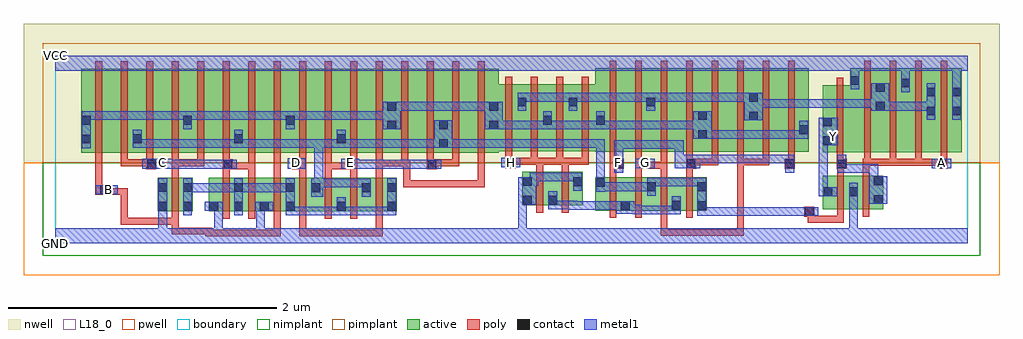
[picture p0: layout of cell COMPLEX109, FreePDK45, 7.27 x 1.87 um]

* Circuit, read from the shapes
.subckt COMPLEX109 A B C D E F G GND H VCC Y
M1 n1 B GND VSUBS nfet w=0.25u l=0.05u m=2
M2 n1 C GND VSUBS nfet w=0.25u l=0.05u m=2
M3 n2 D n1 VSUBS nfet w=0.25u l=0.05u m=2
M4 n1 E n2 VSUBS nfet w=0.25u l=0.05u m=2
M5 n3 H GND VSUBS nfet w=0.25u l=0.05u m=2
M6 n3 F n2 VSUBS nfet w=0.25u l=0.05u m=2
M7 n2 G n3 VSUBS nfet w=0.25u l=0.05u m=2
M8 GND n2 Y VSUBS nfet w=0.25u l=0.05u
M9 n2 A GND VSUBS nfet w=0.25u l=0.05u
M10 n4 B n5 n6 pfet w=0.625u l=0.05u
M11 n2 C n4 n6 pfet w=0.625u l=0.05u
M12 n7 C n2 n6 pfet w=0.625u l=0.05u
M13 n5 B n7 n6 pfet w=0.625u l=0.05u
M14 n8 B n5 n6 pfet w=0.625u l=0.05u
M15 n2 C n8 n6 pfet w=0.625u l=0.05u
M16 n9 C n2 n6 pfet w=0.625u l=0.05u
M17 n5 B n9 n6 pfet w=0.625u l=0.05u
M18 n10 D n5 n6 pfet w=0.625u l=0.05u
M19 n2 E n10 n6 pfet w=0.625u l=0.05u
M20 n11 E n2 n6 pfet w=0.625u l=0.05u
M21 n5 D n11 n6 pfet w=0.625u l=0.05u
M22 n12 D n5 n6 pfet w=0.625u l=0.05u
M23 n2 E n12 n6 pfet w=0.625u l=0.05u
M24 n13 E n2 n6 pfet w=0.625u l=0.05u
M25 n5 D n13 n6 pfet w=0.625u l=0.05u
M26 n14 H n5 n6 pfet w=0.5u l=0.05u m=4
M27 n15 F n5 n6 pfet w=0.625u l=0.05u
M28 n14 G n15 n6 pfet w=0.625u l=0.05u
M29 n16 G n14 n6 pfet w=0.625u l=0.05u
M30 n5 F n16 n6 pfet w=0.625u l=0.05u
M31 n17 F n5 n6 pfet w=0.625u l=0.05u
M32 n14 G n17 n6 pfet w=0.625u l=0.05u
M33 n18 G n14 n6 pfet w=0.625u l=0.05u
M34 n5 F n18 n6 pfet w=0.625u l=0.05u
M35 VCC n2 Y n6 pfet w=0.5u l=0.05u
M36 n14 A VCC n6 pfet w=0.625u l=0.05u m=4
.ends

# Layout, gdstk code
import gdstk
lib = gdstk.Library(unit=1e-6, precision=1e-09)
def R(c, l, rs):  # rectangles x0, y0, x1, y1
    for r in rs: c.add(gdstk.rectangle(r[:2], r[2:], *l))
def A(c, l, x, y, w, h, nx, ny, dx, dy):  # array of equal rectangles
    R(c, l, [(x+i*dx, y+j*dy, x+i*dx+w, y+j*dy+h) for i in range(nx) for j in range(ny)])
active = (1, 0)
pwell = (2, 0)
nwell = (3, 0)
nimplant = (4, 0)
pimplant = (5, 0)
poly = (9, 0)
contact = (10, 0)
metal1 = (11, 0)
L18_0 = (18, 0)
boundary = (235, 0)

complex109 = lib.new_cell('COMPLEX109')
R(complex109, active, [(0.765,0.24,1.025,0.49), (0.765,0.24,0.84,0.49), (0.95,0.24,1.025,0.49), (1.145,0.24,1.405,0.49), (1.145,0.24,1.22,0.49), (1.33,0.24,1.595,0.49), (1.33,0.24,1.405,0.467), (1.52,0.24,1.79,0.49), (1.52,0.24,1.595,0.387), (1.715,0.24,1.98,0.49), (1.715,0.24,1.79,0.477), (1.905,0.24,2.17,0.49), (2.095,0.24,2.355,0.49), (2.095,0.24,2.17,0.467), (2.28,0.24,2.545,0.49), (2.47,0.24,2.545,0.49), (4.025,0.245,4.285,0.495), (4.21,0.245,4.48,0.495), (4.21,0.245,4.285,0.377), (4.405,0.245,4.665,0.495), (4.59,0.245,4.855,0.495), (4.78,0.245,4.855,0.495), (4.59,0.247,4.665,0.405), (5.72,0.255,5.985,0.505), (5.91,0.255,6.17,0.505), (5.91,0.255,5.985,0.422), (5.72,0.275,5.795,0.505), (6.095,0.282,6.17,0.505), (3.48,0.285,3.745,0.535), (3.48,0.285,3.555,0.535), (3.67,0.285,3.93,0.535), (3.67,0.285,3.745,0.36), (1.905,0.297,1.98,0.452), (2.28,0.297,2.355,0.452), (3.855,0.297,3.93,0.535), (4.025,0.297,4.1,0.495), (4.405,0.297,4.48,0.46), (0.195,0.677,0.42,1.302), (0.195,0.677,0.3,1.2), (0.42,0.677,0.65,1.302), (0.575,0.677,0.8,1.302), (0.8,0.677,1.025,1.302), (0.95,0.677,1.18,1.302), (1.18,0.677,1.405,1.302), (1.33,0.677,1.56,1.302), (1.56,0.677,1.79,1.302), (1.715,0.677,1.94,1.302), (1.94,0.677,2.17,1.302), (2.095,0.677,2.32,1.302), (2.32,0.677,2.545,1.302), (2.47,0.677,2.7,1.302), (2.7,0.677,2.93,1.302), (2.855,0.677,3.08,1.302), (3.08,0.677,3.305,1.302), (5.717,0.68,5.997,1.18), (5.717,0.68,5.792,1.07), (5.922,0.68,6.185,1.305), (6.11,0.68,6.372,1.305), (6.297,0.68,6.562,1.305), (6.487,0.68,6.752,1.305), (6.677,0.68,6.752,1.282), (0.575,0.682,0.65,1.07), (0.95,0.682,1.025,1.2), (1.33,0.682,1.405,1.07), (1.715,0.682,1.79,1.2), (2.095,0.682,2.17,1.07), (2.47,0.682,2.545,1.2), (2.855,0.682,2.93,1.07), (4.025,0.682,4.25,1.307), (4.25,0.682,4.475,1.307), (4.4,0.682,4.475,1.2), (4.4,0.682,4.63,1.307), (4.63,0.682,4.86,1.307), (4.785,0.682,4.86,1.07), (4.785,0.682,5.01,1.307), (5.01,0.682,5.24,1.307), (5.165,0.682,5.24,1.2), (5.165,0.682,5.39,1.307), (5.39,0.682,5.615,1.307), (5.54,0.682,5.615,1.07), (6.11,0.682,6.185,1.2), (6.297,0.682,6.372,1.282), (6.487,0.682,6.562,1.2), (3.23,0.687,3.515,1.187), (3.23,0.687,3.305,1.2), (3.44,0.687,3.705,1.187), (3.63,0.687,3.705,1.07), (3.63,0.687,3.895,1.187), (3.82,0.687,4.1,1.187), (4.025,0.687,4.1,1.07), (3.82,0.72,3.895,1.157), (3.44,0.752,3.515,1.157), (5.922,0.807,5.997,1.252)])
R(complex109, pwell, [(-0.235,-0.235,7.035,0.602)])
R(complex109, nwell, [(-0.235,0.602,7.035,1.635)])
R(complex109, nimplant, [(-0.09,-0.09,6.89,0.602)])
R(complex109, pimplant, [(-0.09,0.602,6.89,1.49)])
A(complex109, poly, 1.25, 0.185, 0.05, 0.36, 7, 1, 0.19, 0)
A(complex109, poly, 4.13, 0.19, 0.05, 0.36, 4, 1, 0.19, 0)
A(complex109, poly, 1.82, 0.495, 0.05, 0.107, 3, 1, 0.19, 0)
A(complex109, poly, 4.13, 0.5, 0.05, 0.107, 4, 1, 0.19, 0)
A(complex109, poly, 0.49, 0.577, 0.05, 0.095, 5, 1, 0.19, 0)
A(complex109, poly, 6.027, 0.58, 0.05, 0.095, 4, 1, 0.19, 0)
A(complex109, poly, 4.7, 0.582, 0.05, 0.095, 5, 1, 0.19, 0)
A(complex109, poly, 3.355, 0.587, 0.05, 0.095, 4, 1, 0.19, 0)
A(complex109, poly, 0.3, 0.622, 0.05, 0.735, 16, 1, 0.19, 0)
A(complex109, poly, 6.027, 0.625, 0.05, 0.735, 4, 1, 0.19, 0)
A(complex109, poly, 4.13, 0.627, 0.05, 0.735, 8, 1, 0.19, 0)
A(complex109, poly, 3.355, 0.632, 0.05, 0.61, 4, 1, 0.19, 0)
R(complex109, poly, [(1.117,0.052,1.167,0.102), (1.117,0.052,1.167,0.102), (1.117,0.052,1.3,0.102), (1.117,0.052,1.167,0.117), (1.25,0.052,1.3,0.102), (1.25,0.052,1.3,0.102), (1.25,0.052,1.3,0.102), (1.25,0.052,1.457,0.102), (1.407,0.052,1.457,0.102), (1.407,0.052,1.68,0.102), (1.63,0.052,1.68,0.102), (1.63,0.052,1.68,0.102), (1.63,0.052,1.68,0.102), (1.63,0.052,1.68,0.235), (1.82,0.052,1.87,0.102), (1.82,0.052,1.87,0.102), (1.82,0.052,1.87,0.102), (1.82,0.052,2.002,0.102), (1.82,0.052,1.87,0.235), (1.952,0.052,2.002,0.102), (1.952,0.052,2.247,0.102), (2.197,0.052,2.247,0.102), (2.197,0.052,2.247,0.102), (2.197,0.052,2.247,0.102), (2.197,0.052,2.38,0.102), (2.33,0.052,2.38,0.102), (2.33,0.052,2.44,0.102), (2.39,0.052,2.44,0.102), (2.39,0.052,2.44,0.235), (4.51,0.057,4.56,0.107), (4.51,0.057,4.56,0.107), (4.51,0.057,4.56,0.107), (4.51,0.057,4.692,0.107), (4.51,0.057,4.56,0.24), (4.642,0.057,4.692,0.107), (4.642,0.057,4.997,0.107), (4.947,0.057,4.997,0.107), (4.947,0.057,4.997,0.107), (4.947,0.057,4.997,0.107), (4.947,0.057,5.13,0.107), (5.08,0.057,5.13,0.107), (5.08,0.057,5.13,0.107), (5.08,0.057,5.13,0.107), (5.08,0.057,5.13,0.107), (5.08,0.057,5.13,0.107), (5.08,0.057,5.13,0.632), (0.87,0.067,1.167,0.117), (0.87,0.067,0.92,0.19), (0.49,0.14,0.54,0.19), (0.49,0.14,0.672,0.19), (0.49,0.14,0.54,0.412), (0.622,0.14,0.672,0.19), (0.622,0.14,0.672,0.19), (0.622,0.14,0.672,0.19), (0.622,0.14,0.92,0.19), (0.87,0.14,0.92,0.235), (0.87,0.14,0.92,0.19), (0.87,0.14,0.92,0.19), (5.605,0.155,5.655,0.25), (5.605,0.155,5.655,0.205), (5.605,0.155,5.655,0.205), (5.605,0.155,5.655,0.205), (5.605,0.155,5.875,0.205), (5.825,0.155,5.875,0.25), (5.825,0.155,5.875,0.205), (5.825,0.155,5.875,0.205), (5.825,0.155,5.875,0.205), (0.87,0.185,0.92,0.545), (5.58,0.2,5.655,0.275), (5.825,0.2,5.875,0.56), (6.015,0.2,6.065,0.56), (3.585,0.23,3.635,0.59), (3.775,0.23,3.825,0.59), (0.3,0.362,0.407,0.437), (0.357,0.362,0.407,0.412), (0.357,0.362,0.407,0.412), (0.357,0.362,0.407,0.412), (0.357,0.362,0.407,0.412), (0.357,0.362,0.407,0.412), (0.357,0.362,0.407,0.412), (0.357,0.362,0.54,0.412), (0.49,0.362,0.54,0.412), (0.49,0.362,0.54,0.412), (0.49,0.362,0.54,0.412), (0.3,0.387,0.35,0.672), (2.595,0.42,2.645,0.47), (2.595,0.42,2.645,0.47), (2.595,0.42,2.645,0.47), (2.595,0.42,2.877,0.47), (2.595,0.42,2.645,0.625), (2.827,0.42,2.877,0.47), (2.827,0.42,2.877,0.47), (2.827,0.42,2.877,0.47), (2.827,0.42,3.01,0.47), (2.96,0.42,3.01,0.47), (2.96,0.42,3.2,0.47), (3.15,0.42,3.2,0.47), (3.15,0.42,3.2,0.47), (3.15,0.42,3.2,0.47), (3.15,0.42,3.2,0.47), (3.15,0.42,3.2,0.47), (3.15,0.42,3.2,0.47), (3.15,0.42,3.2,0.47), (3.15,0.42,3.2,0.672), (0.87,0.495,0.92,0.627), (1.25,0.495,1.3,0.602), (1.44,0.495,1.49,0.602), (1.63,0.495,1.68,0.59), (2.39,0.495,2.44,0.625), (5.825,0.51,5.875,0.605), (6.015,0.51,6.065,0.63), (1.63,0.54,1.68,0.59), (1.63,0.54,1.68,0.672), (3.585,0.54,3.635,0.637), (3.775,0.54,3.825,0.637), (0.68,0.552,0.755,0.627), (1.25,0.552,1.325,0.627), (1.275,0.552,1.325,0.602), (1.275,0.552,1.325,0.602), (1.275,0.552,1.49,0.602), (1.44,0.552,1.49,0.602), (1.44,0.552,1.49,0.672), (1.762,0.552,1.87,0.627), (2.01,0.552,2.06,0.602), (2.01,0.552,2.06,0.672), (2.01,0.552,2.212,0.602), (2.162,0.552,2.212,0.602), (2.162,0.552,2.212,0.602), (2.162,0.552,2.25,0.627), (2.77,0.552,2.845,0.627), (5.822,0.555,5.897,0.63), (6.57,0.555,6.647,0.63), (4.13,0.557,4.237,0.632), (4.32,0.557,4.425,0.632), (4.375,0.557,4.425,0.607), (4.375,0.557,4.425,0.607), (4.375,0.557,4.56,0.607), (4.51,0.557,4.56,0.607), (4.51,0.557,4.56,0.677), (4.7,0.557,4.775,0.632), (5.435,0.557,5.51,0.632), (3.355,0.562,3.43,0.637), (2.39,0.575,2.44,0.625), (2.39,0.575,2.44,0.672), (2.39,0.575,2.512,0.625), (2.462,0.575,2.512,0.625), (2.462,0.575,2.63,0.625), (2.58,0.575,2.63,0.625), (2.58,0.575,2.63,0.625), (2.58,0.575,2.63,0.672), (2.58,0.575,2.645,0.625), (0.49,0.577,0.54,0.627), (0.49,0.577,0.54,0.627), (0.49,0.577,0.54,0.627), (0.49,0.577,0.73,0.627), (0.87,0.577,0.92,0.627), (0.87,0.577,0.92,0.627), (0.87,0.577,0.92,0.627), (0.87,0.577,1.11,0.627), (1.06,0.577,1.11,0.627), (1.82,0.577,1.87,0.672), (2.2,0.577,2.25,0.672), (2.77,0.577,2.82,0.672), (2.795,0.577,3.01,0.627), (2.96,0.577,3.01,0.672), (2.96,0.577,3.01,0.627), (2.96,0.577,3.01,0.627), (2.96,0.577,3.01,0.627), (5.822,0.58,5.872,0.675), (6.015,0.58,6.077,0.63), (6.027,0.58,6.267,0.63), (6.217,0.58,6.267,0.63), (6.217,0.58,6.267,0.63), (6.217,0.58,6.267,0.63), (6.217,0.58,6.457,0.63), (6.407,0.58,6.457,0.63), (6.407,0.58,6.457,0.63), (6.407,0.58,6.457,0.63), (6.407,0.58,6.62,0.63), (6.57,0.58,6.62,0.63), (6.57,0.58,6.62,0.63), (4.13,0.582,4.18,0.677), (4.32,0.582,4.37,0.677), (4.725,0.582,4.775,0.632), (4.725,0.582,4.775,0.632), (4.725,0.582,4.94,0.632), (4.89,0.582,4.94,0.632), (5.08,0.582,5.13,0.632), (5.08,0.582,5.13,0.632), (5.08,0.582,5.13,0.632), (5.08,0.582,5.32,0.632), (5.27,0.582,5.32,0.632), (5.27,0.582,5.32,0.632), (5.27,0.582,5.32,0.632), (3.38,0.587,3.595,0.637), (3.545,0.587,3.595,0.637), (3.545,0.587,3.595,0.637), (3.545,0.587,3.635,0.637), (3.585,0.587,3.785,0.637), (3.735,0.587,3.785,0.637), (3.735,0.587,3.785,0.637), (3.735,0.587,3.825,0.637), (3.775,0.587,3.975,0.637), (3.925,0.587,3.975,0.637), (3.925,0.587,3.975,0.637), (3.925,0.587,3.975,0.637), (5.822,0.625,5.872,1.235)])
R(complex109, contact, [(5.585,0.205,5.65,0.27), (0.77,0.245,0.835,0.31), (0.955,0.245,1.02,0.31), (1.15,0.245,1.215,0.31), (1.335,0.245,1.4,0.31), (1.525,0.245,1.59,0.31), (1.72,0.245,1.785,0.31), (2.1,0.245,2.165,0.31), (2.475,0.245,2.54,0.31), (4.215,0.25,4.28,0.315), (4.785,0.25,4.85,0.315), (4.595,0.252,4.66,0.317), (3.485,0.29,3.55,0.355), (3.675,0.29,3.74,0.355), (6.1,0.295,6.165,0.36), (5.725,0.352,5.79,0.417), (5.915,0.352,5.98,0.417), (0.337,0.367,0.402,0.432), (1.91,0.382,1.975,0.447), (2.285,0.382,2.35,0.447), (0.77,0.385,0.835,0.45), (0.955,0.385,1.02,0.45), (1.335,0.385,1.4,0.45), (1.72,0.385,1.785,0.45), (2.475,0.385,2.54,0.45), (4.41,0.39,4.475,0.455), (4.785,0.39,4.85,0.455), (4.03,0.422,4.095,0.487), (3.86,0.427,3.925,0.492), (3.485,0.43,3.55,0.495), (6.1,0.435,6.165,0.5), (0.685,0.557,0.75,0.622), (1.255,0.557,1.32,0.622), (1.767,0.557,1.832,0.622), (2.167,0.557,2.232,0.622), (2.775,0.557,2.84,0.622), (5.827,0.56,5.892,0.625), (6.575,0.56,6.64,0.625), (4.167,0.562,4.232,0.627), (4.355,0.562,4.42,0.627), (4.705,0.562,4.77,0.627), (5.44,0.562,5.505,0.627), (3.36,0.567,3.425,0.632), (2.86,0.712,2.925,0.777), (5.722,0.732,5.787,0.797), (0.2,0.745,0.265,0.81), (0.58,0.747,0.645,0.812), (1.335,0.747,1.4,0.812), (2.1,0.747,2.165,0.812), (4.79,0.78,4.855,0.845), (5.545,0.815,5.61,0.88), (2.475,0.85,2.54,0.915), (3.235,0.85,3.3,0.915), (2.86,0.852,2.925,0.917), (5.722,0.872,5.787,0.937), (0.2,0.885,0.265,0.95), (0.955,0.885,1.02,0.95), (1.72,0.885,1.785,0.95), (3.635,0.885,3.7,0.95), (4.03,0.885,4.095,0.95), (5.17,0.917,5.235,0.982), (4.79,0.92,4.855,0.985), (6.492,0.955,6.557,1.02), (6.682,0.955,6.747,1.02), (2.475,0.99,2.54,1.055), (3.235,0.99,3.3,1.055), (6.115,0.99,6.18,1.055), (3.445,1.022,3.51,1.087), (3.825,1.022,3.89,1.087), (4.405,1.022,4.47,1.087), (5.17,1.057,5.235,1.122), (6.492,1.095,6.557,1.16), (6.682,1.095,6.747,1.16), (6.115,1.13,6.18,1.195), (6.302,1.162,6.367,1.227), (5.927,1.182,5.992,1.247)])
A(complex109, metal1, 3.307, 0.712, 0.065, 0.065, 3, 1, 0.19, 0)
R(complex109, metal1, [(0,0,6.8,0.115), (0.77,0.05,0.835,0.115), (0.77,0.05,0.835,0.115), (0.77,0.05,0.835,0.115), (0.77,0.05,0.835,0.115), (0.77,0.05,0.835,0.275), (1.185,0.05,1.25,0.31), (1.497,0.05,1.562,0.115), (1.497,0.05,1.562,0.115), (1.497,0.05,1.562,0.115), (1.497,0.05,1.562,0.115), (1.497,0.05,1.562,0.31), (3.45,0.05,3.515,0.355), (5.915,0.05,5.98,0.115), (5.915,0.05,5.98,0.115), (5.915,0.05,5.98,0.382), (4.785,0.205,4.987,0.27), (4.785,0.205,4.85,0.27), (4.785,0.205,4.85,0.28), (4.922,0.205,4.987,0.27), (4.922,0.205,5.027,0.27), (4.962,0.205,5.027,0.27), (4.962,0.205,5.132,0.27), (5.067,0.205,5.132,0.27), (5.067,0.205,5.27,0.27), (5.205,0.205,5.27,0.27), (5.205,0.205,5.27,0.27), (5.205,0.205,5.27,0.27), (5.205,0.205,5.472,0.27), (5.407,0.205,5.472,0.27), (5.407,0.205,5.615,0.27), (5.55,0.205,5.685,0.27), (0.77,0.21,0.835,0.485), (0.955,0.21,1.02,0.485), (1.335,0.21,1.4,0.485), (1.72,0.21,1.785,0.485), (1.72,0.21,1.785,0.275), (1.72,0.21,1.785,0.275), (1.72,0.21,1.785,0.275), (1.72,0.21,1.785,0.275), (1.72,0.21,2.005,0.275), (1.94,0.21,2.005,0.275), (1.94,0.21,2.005,0.275), (1.94,0.21,2.005,0.275), (1.94,0.21,2.165,0.275), (2.1,0.21,2.165,0.345), (2.1,0.21,2.267,0.275), (2.202,0.21,2.267,0.275), (2.202,0.21,2.337,0.275), (2.272,0.21,2.337,0.275), (2.272,0.21,2.405,0.275), (2.34,0.21,2.405,0.275), (2.34,0.21,2.54,0.275), (2.475,0.21,2.54,0.485), (4.785,0.215,4.85,0.49), (4.305,0.217,4.507,0.282), (4.305,0.217,4.37,0.287), (4.442,0.217,4.507,0.282), (4.442,0.217,4.507,0.282), (4.442,0.217,4.507,0.282), (4.442,0.217,4.66,0.282), (4.595,0.217,4.66,0.352), (4.18,0.222,4.315,0.315), (4.25,0.222,4.37,0.287), (1.115,0.245,1.25,0.31), (1.185,0.245,1.25,0.31), (1.185,0.245,1.25,0.31), (1.185,0.245,1.25,0.31), (1.185,0.245,1.25,0.31), (1.49,0.245,1.625,0.31), (3.825,0.25,3.89,0.32), (3.825,0.25,4.095,0.315), (4.03,0.25,4.232,0.315), (4.03,0.25,4.095,0.315), (4.03,0.25,4.095,0.315), (4.03,0.25,4.095,0.315), (4.167,0.25,4.232,0.315), (4.167,0.25,4.245,0.315), (3.675,0.255,3.74,0.39), (3.675,0.255,3.89,0.32), (3.825,0.255,3.89,0.32), (3.825,0.255,3.89,0.32), (3.45,0.29,3.515,0.355), (3.45,0.29,3.515,0.355), (3.45,0.29,3.515,0.355), (3.45,0.29,3.515,0.355), (3.45,0.29,3.585,0.495), (6.065,0.295,6.2,0.5), (5.915,0.317,5.98,0.382), (5.915,0.317,5.98,0.382), (5.915,0.317,5.98,0.452), (1.91,0.347,1.997,0.482), (2.285,0.347,2.35,0.482), (5.69,0.352,5.755,0.417), (5.69,0.352,5.755,0.417), (5.69,0.352,5.755,0.417), (5.69,0.352,5.755,0.417), (5.69,0.352,5.755,0.797), (5.69,0.352,5.825,0.417), (4.41,0.355,4.475,0.49), (0.302,0.367,0.467,0.432), (0.955,0.382,1.142,0.447), (1.077,0.382,1.142,0.447), (1.077,0.382,1.157,0.447), (1.092,0.382,1.157,0.447), (1.092,0.382,1.28,0.447), (1.215,0.382,1.28,0.447), (1.215,0.382,1.4,0.447), (1.335,0.382,1.417,0.447), (1.352,0.382,1.417,0.447), (1.352,0.382,1.647,0.447), (1.582,0.382,1.647,0.447), (1.582,0.382,1.647,0.447), (1.582,0.382,1.647,0.447), (1.582,0.382,1.785,0.447), (4.03,0.387,4.095,0.522), (4.03,0.39,4.232,0.455), (4.167,0.39,4.232,0.455), (4.167,0.39,4.232,0.455), (4.167,0.39,4.232,0.455), (4.167,0.39,4.37,0.455), (4.305,0.39,4.37,0.455), (4.305,0.39,4.475,0.455), (3.86,0.392,3.925,0.527), (1.932,0.417,1.997,0.482), (1.932,0.417,1.997,0.482), (1.932,0.417,2.005,0.482), (1.932,0.417,1.997,0.777), (1.94,0.417,2.005,0.482), (1.94,0.417,2.2,0.482), (2.135,0.417,2.2,0.482), (2.135,0.417,2.2,0.482), (2.135,0.417,2.2,0.482), (2.135,0.417,2.35,0.482), (4.41,0.425,4.507,0.49), (4.442,0.425,4.507,0.49), (4.442,0.425,4.682,0.49), (4.617,0.425,4.682,0.49), (4.617,0.425,4.85,0.49), (4.785,0.425,4.85,0.49), (4.785,0.425,4.85,0.49), (3.497,0.43,3.562,0.495), (3.497,0.43,3.562,0.495), (3.497,0.43,3.6,0.495), (3.535,0.43,3.6,0.527), (6.065,0.435,6.13,0.59), (4.03,0.457,4.095,0.777), (3.535,0.462,3.722,0.527), (3.657,0.462,3.722,0.527), (3.657,0.462,3.925,0.527), (3.86,0.462,3.925,0.527), (3.86,0.462,3.925,0.527), (5.827,0.525,5.892,0.59), (5.827,0.525,5.892,0.59), (5.827,0.525,5.892,0.66), (5.827,0.525,6.13,0.59), (6.065,0.525,6.13,0.59), (6.065,0.525,6.13,0.59), (6.065,0.525,6.13,0.59), (4.167,0.527,4.232,0.667), (5.44,0.527,5.505,0.662), (0.65,0.557,0.867,0.632), (0.802,0.557,0.867,0.622), (0.802,0.557,0.867,0.622), (0.802,0.557,1.005,0.622), (0.94,0.557,1.142,0.622), (0.94,0.557,1.005,0.622), (0.94,0.557,1.005,0.622), (0.94,0.557,1.005,0.622), (1.077,0.557,1.142,0.622), (1.077,0.557,1.177,0.622), (1.112,0.557,1.177,0.622), (1.112,0.557,1.285,0.622), (1.22,0.557,1.355,0.622), (1.732,0.557,1.867,0.635), (2.132,0.557,2.267,0.632), (2.202,0.557,2.337,0.622), (2.272,0.557,2.337,0.622), (2.272,0.557,2.405,0.622), (2.34,0.557,2.405,0.622), (2.34,0.557,2.575,0.622), (2.51,0.557,2.575,0.622), (2.51,0.557,2.575,0.622), (2.51,0.557,2.575,0.622), (2.51,0.557,2.715,0.622), (2.65,0.557,2.715,0.622), (2.65,0.557,2.805,0.622), (2.74,0.557,2.875,0.622), (6.532,0.56,6.675,0.632), (4.32,0.562,4.467,0.632), (4.617,0.562,4.682,0.627), (4.617,0.562,4.735,0.627), (4.617,0.562,4.682,0.662), (4.67,0.562,4.805,0.627), (3.325,0.567,3.467,0.64), (4.617,0.597,4.82,0.662), (4.617,0.597,4.682,0.77), (4.755,0.597,4.82,0.662), (4.755,0.597,4.82,0.662), (4.755,0.597,4.82,0.662), (4.755,0.597,4.995,0.662), (4.93,0.597,4.995,0.662), (4.93,0.597,5.062,0.662), (4.997,0.597,5.062,0.662), (4.997,0.597,5.132,0.662), (5.067,0.597,5.132,0.662), (5.067,0.597,5.335,0.662), (5.27,0.597,5.472,0.662), (5.27,0.597,5.335,0.662), (5.27,0.597,5.335,0.662), (5.27,0.597,5.335,0.662), (5.407,0.597,5.472,0.662), (5.407,0.597,5.472,0.662), (5.407,0.597,5.472,0.662), (5.407,0.597,5.505,0.662), (4.167,0.602,4.232,0.667), (4.167,0.602,4.232,0.667), (4.167,0.602,4.232,0.77), (4.167,0.705,4.232,0.77), (4.167,0.705,4.37,0.77), (4.305,0.705,4.507,0.77), (4.305,0.705,4.37,0.77), (4.442,0.705,4.507,0.77), (4.442,0.705,4.507,0.77), (4.442,0.705,4.507,0.77), (4.442,0.705,4.682,0.77), (0.2,0.71,0.265,0.985), (0.58,0.712,0.645,0.847), (0.58,0.712,0.867,0.777), (0.802,0.712,0.867,0.777), (0.802,0.712,0.867,0.777), (0.802,0.712,0.867,0.777), (0.802,0.712,1.005,0.777), (0.94,0.712,1.142,0.777), (0.94,0.712,1.005,0.777), (0.94,0.712,1.005,0.777), (0.94,0.712,1.005,0.777), (1.077,0.712,1.142,0.777), (1.077,0.712,1.19,0.777), (1.125,0.712,1.19,0.777), (1.125,0.712,1.28,0.777), (1.215,0.712,1.28,0.777), (1.215,0.712,1.4,0.777), (1.335,0.712,1.4,0.847), (1.335,0.712,1.417,0.777), (1.352,0.712,1.417,0.777), (1.352,0.712,1.555,0.777), (1.49,0.712,1.555,0.777), (1.49,0.712,1.647,0.777), (1.582,0.712,1.647,0.777), (1.582,0.712,1.785,0.777), (1.72,0.712,1.785,0.777), (1.72,0.712,1.785,0.777), (1.72,0.712,1.785,0.777), (1.72,0.712,1.997,0.777), (1.932,0.712,1.997,0.777), (1.932,0.712,2.005,0.777), (1.94,0.712,2.005,0.777), (1.94,0.712,2.165,0.777), (2.1,0.712,2.165,0.777), (2.1,0.712,2.165,0.777), (2.1,0.712,2.165,0.847), (2.1,0.712,2.337,0.777), (2.272,0.712,2.337,0.777), (2.272,0.712,2.405,0.777), (2.34,0.712,2.542,0.777), (2.34,0.712,2.405,0.777), (2.477,0.712,2.542,0.777), (2.477,0.712,2.542,0.777), (2.477,0.712,2.542,0.777), (2.477,0.712,2.712,0.777), (2.647,0.712,2.712,0.777), (2.647,0.712,2.712,0.777), (2.647,0.712,2.712,0.777), (2.647,0.712,2.89,0.777), (2.825,0.712,2.96,0.917), (2.895,0.712,3.097,0.777), (3.032,0.712,3.097,0.777), (3.032,0.712,3.097,0.777), (3.032,0.712,3.097,0.777), (3.032,0.712,3.235,0.777), (3.17,0.712,3.372,0.777), (3.17,0.712,3.235,0.777), (3.17,0.712,3.235,0.777), (3.17,0.712,3.235,0.777), (3.307,0.712,3.562,0.777), (3.497,0.712,3.752,0.777), (3.687,0.712,3.752,0.777), (3.687,0.712,3.752,0.777), (3.687,0.712,3.957,0.777), (3.892,0.712,3.957,0.777), (3.892,0.712,3.957,0.777), (3.892,0.712,3.957,0.777), (3.892,0.712,4.095,0.777), (4.03,0.712,4.095,0.777), (4.03,0.712,4.095,0.777), (4.03,0.712,4.095,0.777), (4.03,0.712,4.095,0.777), (4.03,0.712,4.095,0.777), (5.687,0.732,5.832,0.937), (5.69,0.732,5.755,0.797), (5.69,0.732,5.755,0.797), (4.755,0.78,4.89,0.985), (4.825,0.78,4.987,0.845), (4.922,0.78,4.987,0.845), (4.922,0.78,5.03,0.845), (4.965,0.78,5.03,0.845), (4.965,0.78,5.132,0.845), (5.067,0.78,5.132,0.845), (5.067,0.78,5.27,0.845), (5.205,0.78,5.27,0.845), (5.205,0.78,5.27,0.845), (5.205,0.78,5.27,0.845), (5.205,0.78,5.472,0.845), (5.407,0.78,5.472,0.845), (5.407,0.78,5.472,0.845), (5.407,0.78,5.472,0.845), (5.407,0.78,5.61,0.845), (5.545,0.78,5.61,0.915), (0.955,0.85,1.02,0.985), (1.72,0.85,1.785,0.985), (2.44,0.85,2.575,1.055), (3.2,0.85,3.335,1.055), (3.27,0.85,3.372,0.915), (3.307,0.85,3.372,0.915), (3.307,0.85,3.51,0.915), (3.445,0.85,3.51,0.915), (3.445,0.85,3.51,0.915), (3.445,0.85,3.51,0.915), (3.445,0.85,3.7,0.915), (3.635,0.85,3.7,0.985), (3.635,0.85,3.957,0.915), (3.892,0.85,3.957,0.915), (3.892,0.85,3.957,0.915), (3.892,0.85,3.957,0.915), (3.892,0.85,4.095,0.915), (4.03,0.85,4.232,0.915), (4.03,0.85,4.095,0.915), (4.03,0.85,4.095,0.915), (4.03,0.85,4.095,0.985), (4.167,0.85,4.232,0.915), (4.167,0.85,4.232,0.915), (4.167,0.85,4.232,0.915), (4.167,0.85,4.37,0.915), (4.305,0.85,4.507,0.915), (4.305,0.85,4.37,0.915), (4.442,0.85,4.507,0.915), (4.442,0.85,4.507,0.915), (4.442,0.85,4.507,0.915), (4.442,0.85,4.682,0.915), (4.617,0.85,4.682,0.915), (4.617,0.85,4.82,0.915), (4.755,0.85,4.82,0.915), (4.755,0.85,4.82,0.915), (5.135,0.917,5.27,1.122), (0.2,0.92,0.402,0.985), (0.2,0.92,0.265,0.985), (0.2,0.92,0.265,0.985), (0.337,0.92,0.402,0.985), (0.337,0.92,0.402,0.985), (0.337,0.92,0.402,0.985), (0.337,0.92,0.54,0.985), (0.475,0.92,0.54,0.985), (0.475,0.92,0.782,0.985), (0.717,0.92,0.782,0.985), (0.717,0.92,0.782,0.985), (0.717,0.92,0.782,0.985), (0.717,0.92,1.005,0.985), (0.94,0.92,1.005,0.985), (0.94,0.92,1.02,0.985), (0.955,0.92,1.142,0.985), (1.077,0.92,1.142,0.985), (1.077,0.92,1.157,0.985), (1.092,0.92,1.157,0.985), (1.092,0.92,1.28,0.985), (1.215,0.92,1.417,0.985), (1.215,0.92,1.28,0.985), (1.352,0.92,1.417,0.985), (1.352,0.92,1.417,0.985), (1.352,0.92,1.417,0.985), (1.352,0.92,1.647,0.985), (1.582,0.92,1.647,0.985), (1.582,0.92,1.647,0.985), (1.582,0.92,1.647,0.985), (1.582,0.92,1.785,0.985), (1.72,0.92,1.867,0.985), (1.802,0.92,1.867,0.985), (1.802,0.92,2.005,0.985), (1.94,0.92,2.142,0.985), (1.94,0.92,2.005,0.985), (1.94,0.92,2.005,0.985), (1.94,0.92,2.005,0.985), (2.077,0.92,2.142,0.985), (2.077,0.92,2.142,0.985), (2.077,0.92,2.142,0.985), (2.077,0.92,2.337,0.985), (2.272,0.92,2.337,0.985), (2.272,0.92,2.405,0.985), (2.34,0.92,2.405,0.985), (2.34,0.92,2.505,0.985), (6.492,0.92,6.557,1.195), (6.682,0.92,6.747,1.195), (3.445,0.987,3.51,1.122), (3.825,0.987,3.89,1.122), (4.405,0.987,4.47,1.122), (2.51,0.99,2.575,1.055), (2.51,0.99,2.575,1.055), (2.51,0.99,2.752,1.055), (2.687,0.99,2.752,1.055), (2.687,0.99,2.752,1.055), (2.687,0.99,2.752,1.055), (2.687,0.99,2.96,1.055), (2.895,0.99,3.097,1.055), (2.895,0.99,2.96,1.055), (3.032,0.99,3.097,1.055), (3.032,0.99,3.097,1.055), (3.032,0.99,3.097,1.055), (3.032,0.99,3.235,1.055), (3.17,0.99,3.235,1.055), (3.17,0.99,3.265,1.055), (6.08,0.99,6.215,1.195), (6.15,0.99,6.282,1.055), (6.217,0.99,6.282,1.055), (6.217,0.99,6.42,1.055), (6.355,0.99,6.557,1.055), (6.355,0.99,6.42,1.055), (6.355,0.99,6.42,1.055), (6.355,0.99,6.42,1.055), (5.205,1.01,5.27,1.075), (5.205,1.01,5.27,1.075), (5.205,1.01,5.472,1.075), (5.407,1.01,5.472,1.075), (5.407,1.01,5.472,1.075), (5.407,1.01,5.472,1.075), (5.407,1.01,5.61,1.075), (5.545,1.01,5.61,1.075), (5.545,1.01,5.61,1.075), (5.545,1.01,5.61,1.075), (5.545,1.01,5.992,1.075), (5.927,1.01,5.992,1.075), (5.927,1.01,5.992,1.075), (5.927,1.01,5.992,1.075), (5.927,1.01,6.145,1.075), (6.08,1.01,6.145,1.075), (6.08,1.01,6.145,1.075), (3.445,1.057,3.752,1.122), (3.687,1.057,3.752,1.122), (3.687,1.057,3.752,1.122), (3.687,1.057,3.752,1.122), (3.687,1.057,3.89,1.122), (3.825,1.057,3.89,1.122), (3.825,1.057,3.89,1.122), (3.825,1.057,4.095,1.122), (4.03,1.057,4.232,1.122), (4.03,1.057,4.095,1.122), (4.03,1.057,4.095,1.122), (4.03,1.057,4.095,1.122), (4.167,1.057,4.232,1.122), (4.167,1.057,4.232,1.122), (4.167,1.057,4.232,1.122), (4.167,1.057,4.37,1.122), (4.305,1.057,4.37,1.122), (4.305,1.057,4.47,1.122), (4.405,1.057,4.507,1.122), (4.442,1.057,4.507,1.122), (4.442,1.057,4.682,1.122), (4.617,1.057,4.682,1.122), (4.617,1.057,4.82,1.122), (4.755,1.057,4.82,1.122), (4.755,1.057,4.82,1.122), (4.755,1.057,4.82,1.122), (4.755,1.057,4.987,1.122), (4.922,1.057,4.987,1.122), (4.922,1.057,5.062,1.122), (4.997,1.057,5.062,1.122), (4.997,1.057,5.132,1.122), (5.067,1.057,5.132,1.122), (5.067,1.057,5.2,1.122), (6.302,1.127,6.367,1.262), (6.682,1.13,6.747,1.35), (5.927,1.147,5.992,1.282), (6.302,1.197,6.367,1.35), (5.927,1.217,5.992,1.35), (0,1.285,6.8,1.4)])
R(complex109, L18_0, [(0,0,6.8,0.115), (0.77,0.05,0.835,0.115), (0.77,0.05,0.835,0.115), (0.77,0.05,0.835,0.115), (0.77,0.05,0.835,0.115), (0.77,0.05,0.835,0.275), (1.185,0.05,1.25,0.31), (1.497,0.05,1.562,0.115), (1.497,0.05,1.562,0.115), (1.497,0.05,1.562,0.115), (1.497,0.05,1.562,0.115), (1.497,0.05,1.562,0.31), (3.45,0.05,3.515,0.355), (5.915,0.05,5.98,0.115), (5.915,0.05,5.98,0.115), (5.915,0.05,5.98,0.382), (0.77,0.21,0.835,0.485), (1.115,0.245,1.25,0.31), (1.185,0.245,1.25,0.31), (1.185,0.245,1.25,0.31), (1.185,0.245,1.25,0.31), (1.185,0.245,1.25,0.31), (1.49,0.245,1.625,0.31), (3.45,0.29,3.515,0.355), (3.45,0.29,3.515,0.355), (3.45,0.29,3.515,0.355), (3.45,0.29,3.515,0.355), (3.45,0.29,3.585,0.495), (5.915,0.317,5.98,0.382), (5.915,0.317,5.98,0.382), (5.915,0.317,5.98,0.452), (5.69,0.352,5.755,0.417), (5.69,0.352,5.755,0.417), (5.69,0.352,5.755,0.417), (5.69,0.352,5.755,0.417), (5.69,0.352,5.825,0.417), (5.69,0.352,5.755,0.797), (0.302,0.367,0.467,0.432), (0.367,0.367,0.432,0.432), (3.86,0.392,3.925,0.527), (3.497,0.43,3.562,0.495), (3.497,0.43,3.562,0.495), (3.497,0.43,3.6,0.495), (3.535,0.43,3.6,0.527), (3.535,0.462,3.722,0.527), (3.657,0.462,3.722,0.527), (3.657,0.462,3.925,0.527), (3.86,0.462,3.925,0.527), (3.86,0.462,3.925,0.527), (4.167,0.527,4.232,0.667), (5.44,0.527,5.505,0.662), (0.65,0.557,0.867,0.632), (0.802,0.557,0.867,0.622), (0.802,0.557,0.867,0.622), (0.802,0.557,1.005,0.622), (0.94,0.557,1.005,0.622), (0.94,0.557,1.005,0.622), (0.94,0.557,1.005,0.622), (0.94,0.557,1.142,0.622), (1.077,0.557,1.142,0.622), (1.077,0.557,1.177,0.622), (1.112,0.557,1.177,0.622), (1.112,0.557,1.285,0.622), (1.22,0.557,1.355,0.622), (1.732,0.557,1.867,0.635), (2.132,0.557,2.267,0.632), (2.202,0.557,2.337,0.622), (2.272,0.557,2.337,0.622), (2.272,0.557,2.405,0.622), (2.34,0.557,2.405,0.622), (2.34,0.557,2.575,0.622), (2.51,0.557,2.575,0.622), (2.51,0.557,2.575,0.622), (2.51,0.557,2.575,0.622), (2.51,0.557,2.715,0.622), (2.65,0.557,2.715,0.622), (2.65,0.557,2.805,0.622), (2.74,0.557,2.875,0.622), (6.532,0.56,6.675,0.632), (4.32,0.562,4.467,0.632), (4.617,0.562,4.682,0.627), (4.617,0.562,4.682,0.662), (4.617,0.562,4.735,0.627), (4.67,0.562,4.805,0.627), (0.767,0.567,0.832,0.632), (1.767,0.567,1.832,0.632), (2.167,0.567,2.232,0.632), (3.325,0.567,3.467,0.64), (3.367,0.567,3.432,0.632), (4.167,0.567,4.232,0.632), (4.367,0.567,4.432,0.632), (6.567,0.567,6.632,0.632), (4.617,0.597,4.82,0.662), (4.617,0.597,4.682,0.77), (4.755,0.597,4.82,0.662), (4.755,0.597,4.82,0.662), (4.755,0.597,4.82,0.662), (4.755,0.597,4.995,0.662), (4.93,0.597,4.995,0.662), (4.93,0.597,5.062,0.662), (4.997,0.597,5.062,0.662), (4.997,0.597,5.132,0.662), (5.067,0.597,5.132,0.662), (5.067,0.597,5.335,0.662), (5.27,0.597,5.335,0.662), (5.27,0.597,5.335,0.662), (5.27,0.597,5.335,0.662), (5.27,0.597,5.472,0.662), (5.407,0.597,5.472,0.662), (5.407,0.597,5.472,0.662), (5.407,0.597,5.472,0.662), (5.407,0.597,5.505,0.662), (4.167,0.602,4.232,0.667), (4.167,0.602,4.232,0.667), (4.167,0.602,4.232,0.77), (4.167,0.705,4.232,0.77), (4.167,0.705,4.37,0.77), (4.305,0.705,4.37,0.77), (4.305,0.705,4.507,0.77), (4.442,0.705,4.507,0.77), (4.442,0.705,4.507,0.77), (4.442,0.705,4.507,0.77), (4.442,0.705,4.682,0.77), (5.687,0.732,5.832,0.937), (5.69,0.732,5.755,0.797), (5.69,0.732,5.755,0.797), (5.767,0.767,5.832,0.832), (6.682,0.92,6.747,1.195), (6.302,1.127,6.367,1.262), (6.682,1.13,6.747,1.35), (5.927,1.147,5.992,1.282), (6.302,1.197,6.367,1.35), (5.927,1.217,5.992,1.35), (0,1.285,6.8,1.4)])
R(complex109, boundary, [(0,0,6.8,1.4)])
complex109.add(gdstk.Label('A', (6.6,0.6), layer=11, texttype=0))
complex109.add(gdstk.Label('B', (0.4,0.4), layer=11, texttype=0))
complex109.add(gdstk.Label('C', (0.8,0.6), layer=11, texttype=0))
complex109.add(gdstk.Label('D', (1.8,0.6), layer=11, texttype=0))
complex109.add(gdstk.Label('E', (2.2,0.6), layer=11, texttype=0))
complex109.add(gdstk.Label('F', (4.2,0.6), layer=11, texttype=0))
complex109.add(gdstk.Label('G', (4.4,0.6), layer=11, texttype=0))
complex109.add(gdstk.Label('H', (3.4,0.6), layer=11, texttype=0))
complex109.add(gdstk.Label('Y', (5.8,0.8), layer=11, texttype=0))
complex109.add(gdstk.Label('VCC', (0,1.4), layer=11, texttype=0))
complex109.add(gdstk.Label('GND', (0,0), layer=11, texttype=0))

lib.write_gds('COMPLEX109.gds')
